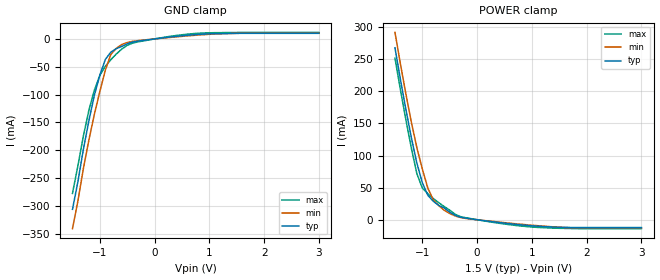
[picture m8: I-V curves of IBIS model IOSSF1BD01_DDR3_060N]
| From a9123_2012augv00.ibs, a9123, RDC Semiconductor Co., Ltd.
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[Model]   IOSSF1BD01_DDR3_060N
|   IOSSF1BD01_DDR3_060N  MODEL
|   DATE   :  2009/8/5 ;
|   REVISION :  0.1.1 ;
|   Model generated   Mon Aug 17 15:49:06 2009
Model_type  Input
Polarity   Inverting
| Signals
Vinl = 0.575
Vinh = 0.925
| variable   typ   min   max
C_comp   3.3322pf   3.0011pf   4.0232pf
[Model Spec]
|   Subparameter   typ   min   max
Vinh   0.925  0.887500  0.962500
Vinl   0.575  0.537500  0.612500
[Temperature Range]   25   125   -40
|   typ   min   max
[Voltage Range]   1.5V   1.425V   1.575V
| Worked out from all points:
|   POWER clamp passes 1 mA (typ) near -0.09 V on its own axis
[GND Clamp]
|   Voltage   I(typ)   I(min)   I(max)
-1.5V     -305.9mA   -340.6mA   -277.3mA
-1.4V     -255.9mA   -290.6mA   -227.2mA
-1.3V     -197.6mA   -232.2mA   -173.8mA
-1.2V     -146.8mA   -181.4mA   -128mA
-1.1V     -100.8mA   -135.3mA   -91.99mA
-1V       -64.99mA   -94.29mA   -65.33mA
-900mV    -36.92mA   -56.02mA   -49.24mA
-800mV    -23.8mA    -27.81mA   -37.28mA
-700mV    -17.51mA   -16.99mA   -27.11mA
-400mV    -5.623mA   -4.336mA   -7.469mA
600mV     6.565mA    5.425mA    8.511mA
3V        10.07mA    10.38mA    11.71mA
[POWER Clamp]
|   Voltage   I(typ)   I(min)   I(max)
|( VDD-Vmeas )
-1.5V     267.9mA    291.9mA    251.8mA
-1.3V     171.6mA    195.7mA    155.3mA
-1.2V     127.5mA    151.6mA    111.1mA
-1.1V     88.04mA    112.1mA    71.66mA
-1V       57.67mA    78.8mA     49.3mA
-900mV    38.1mA     49.22mA    40.63mA
-800mV    28.75mA    30.91mA    33.11mA
-600mV    18.22mA    14.66mA    20.45mA
-300mV    3.851mA    3.331mA    4.806mA
700mV     -7.163mA   -6.223mA   -8.84mA
1.7V      -12.11mA   -12.47mA   -13.67mA
3V        -12.23mA   -12.61mA   -13.91mA
